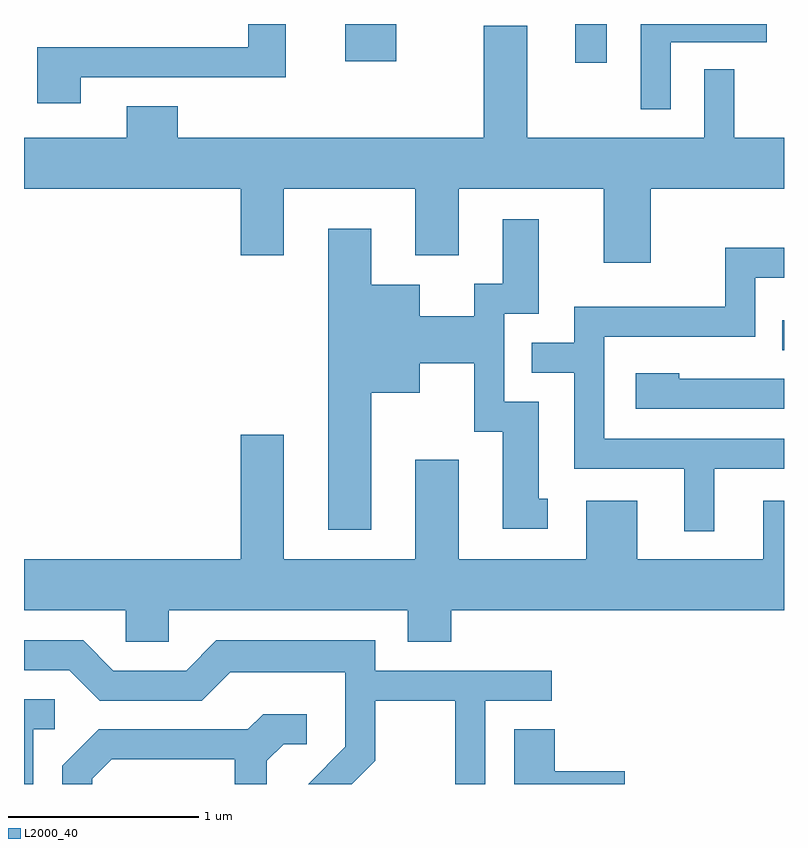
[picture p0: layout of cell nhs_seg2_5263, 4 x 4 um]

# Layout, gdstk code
import gdstk
lib = gdstk.Library(unit=1e-6, precision=1e-09)
def R(c, l, rs):  # rectangles x0, y0, x1, y1
    for r in rs: c.add(gdstk.rectangle(r[:2], r[2:], *l))
def P(c, l, *ps):  # polygons
    for p in ps: c.add(gdstk.Polygon(p, *l))
L2000_40 = (2000, 40)

nhs_seg2_5263 = lib.new_cell('nhs_seg2_5263')
R(nhs_seg2_5263, L2000_40, [(343.603,1094.086,343.611,1094.244), (342.511,1095.598,342.679,1095.802), (341.301,1095.606,341.569,1095.802)])
P(nhs_seg2_5263, L2000_40, [(343.014,1095.706),(343.519,1095.706),(343.519,1095.802),(342.856,1095.802),(342.856,1095.353),(343.014,1095.353)],
  [(339.909,1095.521),(340.989,1095.521),(340.989,1095.802),(340.791,1095.802),(340.791,1095.679),(339.681,1095.679),(339.681,1095.386),(339.909,1095.386)],
  [(342.909,1094.936),(343.611,1094.936),(343.611,1095.204),(343.349,1095.204),(343.349,1095.563),(343.191,1095.563),(343.191,1095.204),(342.259,1095.204),(342.259,1095.794),(342.031,1095.794),(342.031,1095.204),(340.419,1095.204),(340.419,1095.369),(340.151,1095.369),(340.151,1095.204),(339.611,1095.204),(339.611,1094.936),(340.751,1094.936),(340.751,1094.586),(340.979,1094.586),(340.979,1094.936),(341.671,1094.936),(341.671,1094.586),(341.899,1094.586),(341.899,1094.936),(342.661,1094.936),(342.661,1094.546),(342.909,1094.546)],
  [(341.439,1093.861),(341.694,1093.861),(341.694,1094.016),(341.981,1094.016),(341.981,1093.656),(342.131,1093.656),(342.131,1093.146),(342.368,1093.146),(342.368,1093.304),(342.319,1093.304),(342.319,1093.814),(342.139,1093.814),(342.139,1094.276),(342.319,1094.276),(342.319,1094.774),(342.131,1094.774),(342.131,1094.434),(341.981,1094.434),(341.981,1094.264),(341.694,1094.264),(341.694,1094.429),(341.439,1094.429),(341.439,1094.724),(341.211,1094.724),(341.211,1093.141),(341.439,1093.141)],
  [(343.244,1093.461),(343.611,1093.461),(343.611,1093.619),(342.664,1093.619),(342.664,1094.156),(343.459,1094.156),(343.459,1094.466),(343.611,1094.466),(343.611,1094.624),(343.301,1094.624),(343.301,1094.314),(342.506,1094.314),(342.506,1094.124),(342.283,1094.124),(342.283,1093.966),(342.506,1093.966),(342.506,1093.461),(343.086,1093.461),(343.086,1093.133),(343.244,1093.133)],
  [(343.611,1093.934),(343.059,1093.934),(343.059,1093.964),(342.831,1093.964),(342.831,1093.776),(343.611,1093.776)],
  [(340.374,1092.716),(341.631,1092.716),(341.631,1092.551),(341.859,1092.551),(341.859,1092.716),(343.611,1092.716),(343.611,1093.294),(343.501,1093.294),(343.501,1092.984),(342.839,1092.984),(342.839,1093.294),(342.571,1093.294),(342.571,1092.984),(341.899,1092.984),(341.899,1093.509),(341.671,1093.509),(341.671,1092.984),(340.979,1092.984),(340.979,1093.639),(340.751,1093.639),(340.751,1092.984),(339.611,1092.984),(339.611,1092.716),(340.146,1092.716),(340.146,1092.551),(340.374,1092.551)],
  [(341.459,1091.924),(341.459,1092.241),(341.881,1092.241),(341.881,1091.802),(342.039,1091.802),(342.039,1092.241),(342.388,1092.241),(342.388,1092.399),(341.459,1092.399),(341.459,1092.559),(340.624,1092.559),(340.464,1092.399),(340.082,1092.399),(339.922,1092.559),(339.611,1092.559),(339.611,1092.401),(339.849,1092.401),(340.009,1092.241),(340.547,1092.241),(340.697,1092.391),(341.301,1092.391),(341.301,1091.997),(341.106,1091.802),(341.337,1091.802)],
  [(339.659,1092.091),(339.773,1092.091),(339.773,1092.249),(339.611,1092.249),(339.611,1091.802),(339.659,1091.802)],
  [(339.969,1091.829),(340.072,1091.931),(340.721,1091.931),(340.721,1091.802),(340.889,1091.802),(340.889,1091.924),(340.977,1092.011),(341.098,1092.011),(341.098,1092.169),(340.869,1092.169),(340.789,1092.089),(340.004,1092.089),(339.811,1091.897),(339.811,1091.802),(339.969,1091.802)],
  [(342.774,1091.869),(342.404,1091.869),(342.404,1092.089),(342.191,1092.089),(342.191,1091.802),(342.774,1091.802)])

lib.write_gds('nhs_seg2_5263.gds')
